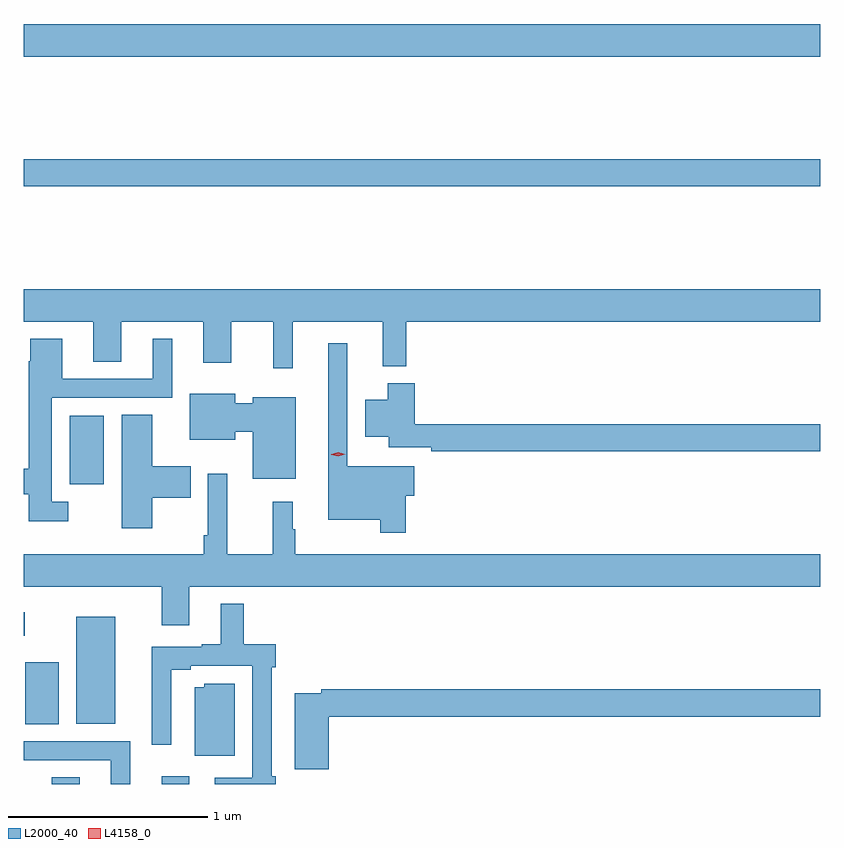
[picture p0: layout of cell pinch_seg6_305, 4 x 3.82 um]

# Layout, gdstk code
import gdstk
lib = gdstk.Library(unit=1e-6, precision=1e-09)
def R(c, l, rs):  # rectangles x0, y0, x1, y1
    for r in rs: c.add(gdstk.rectangle(r[:2], r[2:], *l))
def P(c, l, *ps):  # polygons
    for p in ps: c.add(gdstk.Polygon(p, *l))
L2000_40 = (2000, 40)
L4158_0 = (4158, 0)

pinch_seg6_305 = lib.new_cell('pinch_seg6_305')
R(pinch_seg6_305, L2000_40, [(660.515,976.981,660.655,977.015), (661.067,976.981,661.207,977.02), (660.383,977.281,660.55,977.593), (660.638,977.285,660.835,977.821), (660.376,977.726,660.379,977.845), (660.605,978.488,660.778,978.832), (660.376,979.984,664.376,980.12), (660.376,980.636,664.376,980.8)])
P(pinch_seg6_305, L2000_40, [(661.727,979.304),(662.18,979.304),(662.18,979.079),(662.297,979.079),(662.297,979.304),(664.376,979.304),(664.376,979.468),(660.376,979.468),(660.376,979.304),(660.725,979.304),(660.725,979.102),(660.865,979.102),(660.865,979.304),(661.277,979.304),(661.277,979.098),(661.417,979.098),(661.417,979.304),(661.628,979.304),(661.628,979.071),(661.727,979.071)],
  [(660.598,978.399),(660.516,978.399),(660.516,978.921),(661.12,978.921),(661.12,979.219),(661.022,979.219),(661.022,979.017),(660.568,979.017),(660.568,979.219),(660.407,979.219),(660.407,979.106),(660.4,979.106),(660.4,978.566),(660.376,978.566),(660.376,978.438),(660.4,978.438),(660.4,978.302),(660.598,978.302)],
  [(662.294,978.43),(662.338,978.43),(662.338,978.577),(662.001,978.577),(662.001,979.195),(661.904,979.195),(661.904,978.308),(662.166,978.308),(662.166,978.243),(662.294,978.243)],
  [(664.376,978.788),(662.339,978.788),(662.339,978.994),(662.204,978.994),(662.204,978.913),(662.09,978.913),(662.09,978.725),(662.21,978.725),(662.21,978.672),(662.422,978.672),(662.422,978.652),(664.376,978.652)],
  [(661.741,978.925),(661.526,978.925),(661.526,978.894),(661.438,978.894),(661.438,978.943),(661.208,978.943),(661.208,978.71),(661.438,978.71),(661.438,978.752),(661.526,978.752),(661.526,978.515),(661.741,978.515)],
  [(661.021,978.419),(661.214,978.419),(661.214,978.577),(661.021,978.577),(661.021,978.836),(660.866,978.836),(660.866,978.267),(661.021,978.267)],
  [(661.207,977.972),(664.376,977.972),(664.376,978.136),(661.738,978.136),(661.738,978.26),(661.726,978.26),(661.726,978.4),(661.627,978.4),(661.627,978.136),(661.398,978.136),(661.398,978.541),(661.299,978.541),(661.299,978.232),(661.279,978.232),(661.279,978.136),(660.376,978.136),(660.376,977.972),(661.067,977.972),(661.067,977.778),(661.207,977.778)],
  [(661.64,977.02),(661.62,977.02),(661.62,977.567),(661.64,977.567),(661.64,977.683),(661.481,977.683),(661.481,977.887),(661.364,977.887),(661.364,977.683),(661.268,977.683),(661.268,977.67),(661.019,977.67),(661.019,977.178),(661.116,977.178),(661.116,977.554),(661.213,977.554),(661.213,977.574),(661.524,977.574),(661.524,977.013),(661.335,977.013),(661.335,976.981),(661.64,976.981)],
  [(661.435,977.485),(661.281,977.485),(661.281,977.467),(661.235,977.467),(661.235,977.123),(661.435,977.123)],
  [(661.907,977.32),(664.376,977.32),(664.376,977.456),(661.87,977.456),(661.87,977.436),(661.736,977.436),(661.736,977.055),(661.907,977.055)],
  [(660.91,977.196),(660.376,977.196),(660.376,977.1),(660.812,977.1),(660.812,976.981),(660.91,976.981)])
P(pinch_seg6_305, L4158_0, [(661.956,978.628),(661.92,978.636),(661.92,978.636),(661.92,978.637),(661.955,978.648),(661.991,978.639),(661.991,978.639),(661.991,978.639)])

lib.write_gds('pinch_seg6_305.gds')
